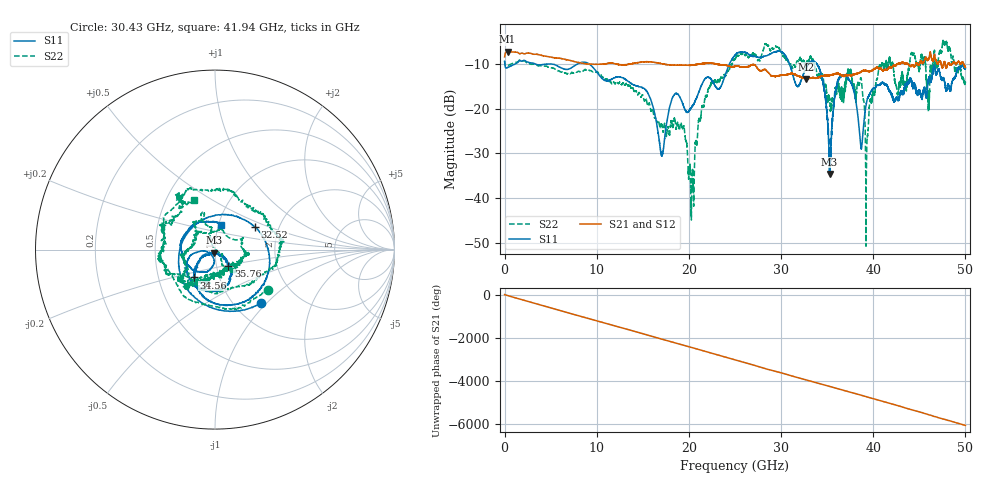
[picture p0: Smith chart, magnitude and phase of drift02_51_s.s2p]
!Created with skrf (http://scikit-rf.org).
# Hz S RI R 50.0
!freq ReS11 ImS11 ReS21 ImS21 ReS12 ImS12 ReS22 ImS22
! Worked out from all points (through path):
!   10001 points, 300 kHz to 50 GHz, reference 50 ohm
!   highest |S21| = -7.31 dB at 325.3 MHz (marker M1); lowest = -13.4 dB at 32.74 GHz (marker M2)
!   group delay of S21, straight-line fit = 335 ps
!   lowest |S11| = -34.6 dB at 35.26 GHz (marker M3), VSWR 1.04, Z = 49.4 - j1.77 ohm
!   |S11| at or under -10 dB: 3.231 GHz to 8.003 GHz (4.772 GHz wide, 85 % of centre); 9.106 GHz to 24.41 GHz (15.31 GHz wide, 91.3 % of centre); 33.85 GHz to 49.64 GHz (15.79 GHz wide, 37.8 % of centre) (the widest 3 of 13)
!   |S22| runs from -50.6 to -4.9 dB; largest |S21 - S12| = 0.013
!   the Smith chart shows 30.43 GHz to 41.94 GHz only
!   S11 on the Smith chart (normalised r, x): 30.43 GHz: 1.32, -0.93; 32.52 GHz: 1.51, +0.41; 34.56 GHz: 0.75, -0.24; 35.76 GHz: 1.14, -0.21; 41.94 GHz: 1.03, +0.29
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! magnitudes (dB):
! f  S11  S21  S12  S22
! 300 kHz  -9.5  -8.5  -8.4  -9.4
! 325.3 MHz  -10.9  -7.3  -7.3  -10.6
! 8.335 GHz  -9.7  -9.9  -9.9  -11.6
! 16.67 GHz  -25.6  -9.9  -9.9  -22.9
! 19.31 GHz  -18.9  -10.4  -10.3  -24.5
! 20.37 GHz  -19.5  -10.3  -10.3  -34.8
! 21.94 GHz  -13.1  -9.9  -10.0  -17.2
! 25 GHz  -8.1  -10.6  -10.6  -9.0
! 30.43 GHz  -8.1  -12.6  -12.5  -8.6
! 32.52 GHz  -11.8  -13.2  -13.2  -9.8
! 32.74 GHz  -10.9  -13.4  -13.5  -9.9
! 33.34 GHz  -9.5  -13.1  -13.2  -9.0
! 34.56 GHz  -14.2  -12.7  -12.7  -13.0
! 35.26 GHz  -34.6  -12.6  -12.6  -18.2
! 35.76 GHz  -18.7  -12.3  -12.3  -18.4
! 37.2 GHz  -13.2  -12.7  -12.7  -12.0
! 38.55 GHz  -26.2  -12.0  -12.0  -13.9
! 39.32 GHz  -18.2  -11.6  -11.6  -27.5
! 41.67 GHz  -15.7  -11.0  -11.1  -9.6
! 41.94 GHz  -16.8  -11.0  -11.0  -10.4
! 47.76 GHz  -14.3  -9.8  -9.6  -5.7
! 50 GHz  -11.1  -10.8  -10.8  -14.2
